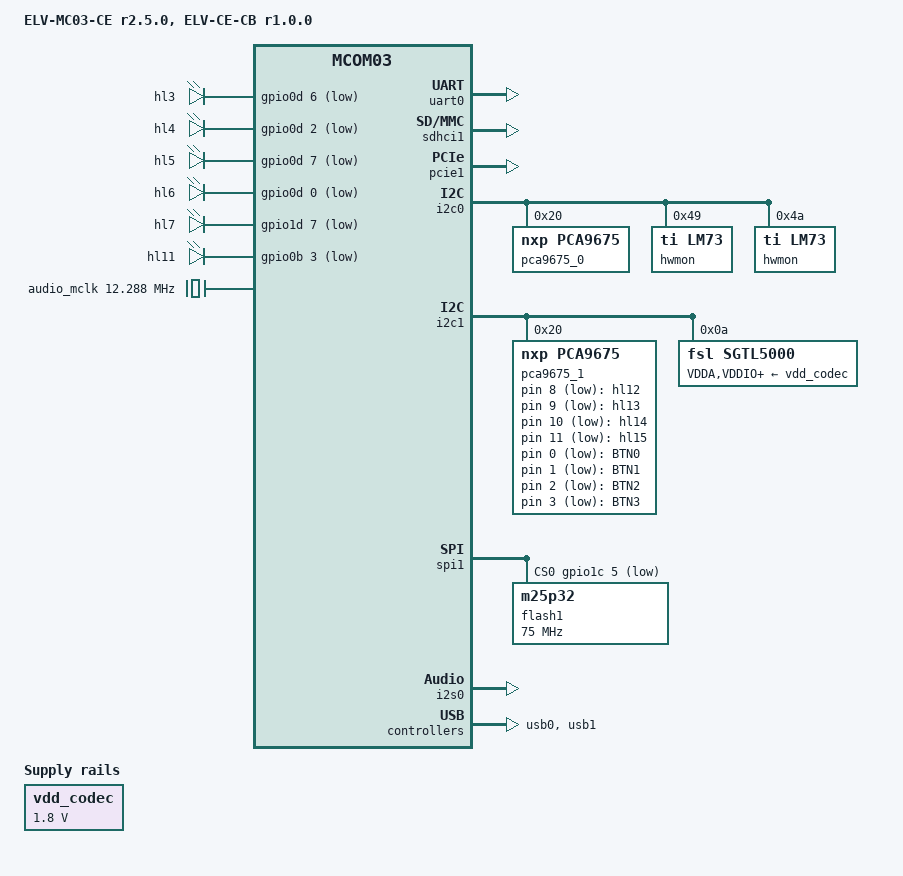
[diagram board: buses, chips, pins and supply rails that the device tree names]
// SPDX-License-Identifier: GPL-2.0+
/*
 * Copyright 2023 RnD Center "ELVEES", JSC
 */

/dts-v1/;

#include <dt-bindings/gpio/gpio.h>
#include <dt-bindings/input/linux-event-codes.h>

#include "mcom03-elvmc03ce-r2.5.0.dtsi"

/ {
	model = "ELV-MC03-CE r2.5.0, ELV-CE-CB r1.0.0";
	compatible = "elvees,elvmc03ce-r2.5.0-elvcecb-r1.0.0",
		     "elvees,elvmc03ce-elvcecb",
		     "elvees,elvcecb-r1.0.0",
		     "elvees,elvcecb",
		     "elvees,elvmc03ce-r2.5.0",
		     "elvees,elvmc03ce",
		     "elvees,mcom03";

	chosen {
		stdout-path = "serial0:115200n8";
	};

	elvcecb-leds {
		compatible = "gpio-leds";

		hl3 {
			gpios = <&gpio0d 6 GPIO_ACTIVE_LOW>;
			default-state = "off";
		};

		hl4 {
			gpios = <&gpio0d 2 GPIO_ACTIVE_LOW>;
			default-state = "off";
		};

		hl5 {
			gpios = <&gpio0d 7 GPIO_ACTIVE_LOW>;
			default-state = "off";
		};

		hl6 {
			gpios = <&gpio0d 0 GPIO_ACTIVE_LOW>;
			default-state = "off";
		};

		hl7 {
			gpios = <&gpio1d 7 GPIO_ACTIVE_LOW>;
			default-state = "off";
		};

		hl11 {
			gpios = <&gpio0b 3 GPIO_ACTIVE_LOW>;
			default-state = "off";
		};

		hl12 {
			gpios = <&pca9675_1 8 GPIO_ACTIVE_LOW>;
			default-state = "off";
		};

		hl13 {
			gpios = <&pca9675_1 9 GPIO_ACTIVE_LOW>;
			default-state = "off";
		};

		hl14 {
			gpios = <&pca9675_1 10 GPIO_ACTIVE_LOW>;
			default-state = "off";
		};

		hl15 {
			gpios = <&pca9675_1 11 GPIO_ACTIVE_LOW>;
			default-state = "off";
		};
	};

	elvcecb-keys {
		compatible = "gpio-keys-polled";
		poll-interval = <100>;
		autorepeat;

		btn0 {
			gpios = <&pca9675_1 0 GPIO_ACTIVE_LOW>;
			label = "BTN0";
			linux,code = <BTN_TRIGGER_HAPPY1>;
		};

		btn1 {
			gpios = <&pca9675_1 1 GPIO_ACTIVE_LOW>;
			label = "BTN1";
			linux,code = <BTN_TRIGGER_HAPPY2>;
		};

		btn2 {
			gpios = <&pca9675_1 2 GPIO_ACTIVE_LOW>;
			label = "BTN2";
			linux,code = <BTN_TRIGGER_HAPPY3>;
		};

		btn3 {
			gpios = <&pca9675_1 3 GPIO_ACTIVE_LOW>;
			label = "BTN3";
			linux,code = <BTN_TRIGGER_HAPPY4>;
		};
	};

	vdd_codec: vdd-codec {
		compatible = "regulator-fixed";
		regulator-name = "vdd-codec";
		regulator-min-microvolt = <1800000>;
		regulator-max-microvolt = <1800000>;
		regulator-always-on;
	};

	/* "G1" oscillator */
	audio_mclk: audio_mclk {
		#clock-cells = <0>;
		compatible = "fixed-clock";
		clock-frequency = <12288000>;
	};

	/* TRS (3.5mm jack) connected to SGTL5000 codec.
	   SGTL5000 connected to MCom-03 I2S0 as I2S slave.
	   */
	analog-sound {
		compatible = "simple-audio-card";
		simple-audio-card,name = "ELV-CE-CB analog audio";
		simple-audio-card,format = "i2s";
		simple-audio-card,bitclock-master = <&dailink1_master>;
		simple-audio-card,frame-master = <&dailink1_master>;
		simple-audio-card,routing =
			"MIC_IN", "Mic Bias";

		dailink1_master: simple-audio-card,cpu {
			sound-dai = <&i2s0>;
		};

		simple-audio-card,codec {
			sound-dai = <&sgtl5000>;
		};
	};
};

&uart0 {
	status = "okay";
};

&sdhci1 {
	status = "okay";

	/* Disable 1.8V support
	 * Disable SDR50, SDR104 and DDR50 support
	 */
	sdhci-caps-mask = <0x7 0x4000000>;
	sdhci-caps = <0x0 0x0>;
};

/* Connected to PCIe bridge */
&pcie1 {
	status = "okay";
};

&i2c0 {
	status = "okay";

	/* I2C GPIO expander (PCA9675) */
	pca9675_0: gpio-expander@20 {
		compatible = "nxp,pca9675";
		reg = <0x20>;
		gpio-controller;
		#gpio-cells = <2>;

		gpio-line-names = "", "", "PCA_PCIe_PRSNT_3V3", "PCIe_PRSNT",
				  "", "I2C_OUT5", "I2C_OUT6", "I2C_OUT7",
				  "I2C_OUT10", "I2C_EXP_TP1", "I2C_EXP_TP2", "I2C_EXP_TP3",
				  "I2C_EXP_TP4", "I2C_EXP_TP5", "I2C_EXP_TP6", "I2C_EXP_TP7";
	};

	hwmon@49 {
		compatible = "ti,lm73";
		reg = <0x49>;
	};

	hwmon@4a {
		compatible = "ti,lm73";
		reg = <0x4a>;
	};
};

&i2c1 {
	status = "okay";

	/* I2C GPIO expander (PCA9675) */
	pca9675_1: gpio-expander@20 {
		compatible = "nxp,pca9675";
		reg = <0x20>;
		gpio-controller;
		#gpio-cells = <2>;

		gpio-line-names = "BTN_0", "BTN_1", "BTN_2", "BTN_3",
				  "EXT_BTN_0", "EXT_BTN_1", "EXT_BTN_2", "EXT_BTN_3",
				  "HL12", "HL13", "HL14", "HL15",
				  "EXT_LED_0", "EXT_LED_1", "EXT_LED_2", "EXT_LED_3";
	};

	sgtl5000: codec@a {
		compatible = "fsl,sgtl5000";
		reg = <0x0a>;
		#sound-dai-cells = <0>;
		clocks = <&audio_mclk>;
		clock-names = "mclk";
		micbias-resistor-k-ohms = <2>;
		micbias-voltage-m-volts = <2250>;
		VDDA-supply = <&vdd_codec>;
		VDDIO-supply = <&vdd_codec>;
		VDDD-supply = <&vdd_codec>;
	};
};

&spi1 {
	status = "okay";
	num-cs = <2>;
	cs-gpios = <&gpio1c 5 GPIO_ACTIVE_LOW>;

	flash1: m25p32@0 {
		#address-cells = <1>;
		#size-cells = <1>;
		compatible = "m25p32", "jedec,spi-nor";
		spi-max-frequency = <75000000>;
		reg = <0x0>;
	};
};

&i2s0 {
	status = "okay";
};

/* Connected to bottom slot of USB 3.0 on-board double connector */
&usb0 {
	status = "okay";
};

/* Connected to USB 2.0 on-board double connector and top slot of
 * USB 3.0 on-board double connector.
 */
&usb1 {
	status = "okay";
};
